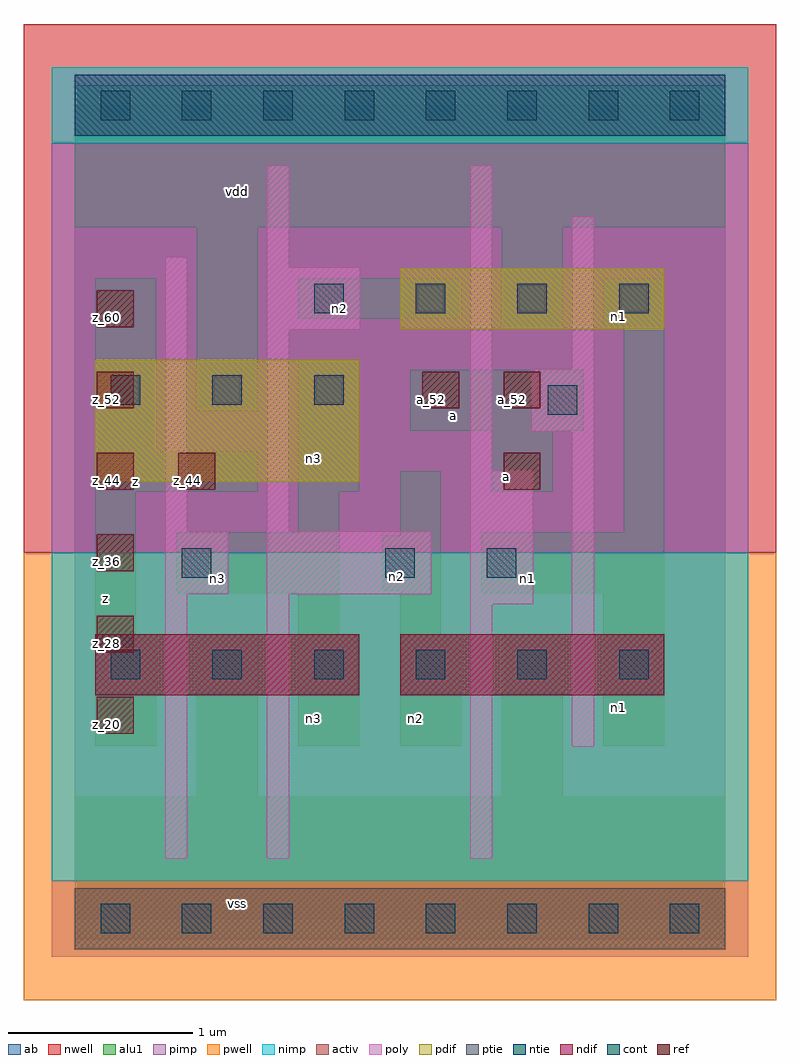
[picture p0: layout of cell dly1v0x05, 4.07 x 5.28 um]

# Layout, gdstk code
import gdstk
lib = gdstk.Library(unit=1e-6, precision=2.5e-09)
def R(c, l, rs):  # rectangles x0, y0, x1, y1
    for r in rs: c.add(gdstk.rectangle(r[:2], r[2:], *l))
def A(c, l, x, y, w, h, nx, ny, dx, dy):  # array of equal rectangles
    R(c, l, [(x+i*dx, y+j*dy, x+i*dx+w, y+j*dy+h) for i in range(nx) for j in range(ny)])
ndif = (3, 0)
pdif = (4, 0)
ntie = (5, 0)
ptie = (6, 0)
ref = (24, 0)
cont = (25, 0)
pwell = (41, 0)
nwell = (42, 0)
activ = (43, 0)
pimp = (44, 0)
nimp = (45, 0)
poly = (46, 0)
alu1 = (49, 0)
ab = (63, 0)

dly1v0x05 = lib.new_cell('dly1v0x05')
R(dly1v0x05, ndif, [(0.11,1.21,1.54,1.54), (1.76,1.21,3.19,1.54)])
R(dly1v0x05, pdif, [(0.11,2.365,1.54,3.025), (1.76,3.19,3.19,3.52)])
R(dly1v0x05, ntie, [(0,4.235,3.52,4.565)])
R(dly1v0x05, ptie, [(0,-0.165,3.52,0.165)])
A(dly1v0x05, ref, 0.12, 1, 0.2, 0.2, 1, 6, 0, 0.44)
R(dly1v0x05, ref, [(0.56,2.32,0.76,2.52), (2.32,2.32,2.52,2.52), (1.88,2.76,2.08,2.96), (2.32,2.76,2.52,2.96)])
A(dly1v0x05, cont, 0.14, -0.08, 0.16, 0.16, 8, 2, 0.44, 4.4)
A(dly1v0x05, cont, 0.195, 1.295, 0.16, 0.16, 6, 1, 0.55, 0)
A(dly1v0x05, cont, 0.195, 2.78, 0.16, 0.16, 3, 1, 0.55, 0)
A(dly1v0x05, cont, 1.295, 3.275, 0.16, 0.16, 4, 1, 0.55, 0)
R(dly1v0x05, cont, [(0.58,1.845,0.74,2.005), (1.68,1.845,1.84,2.005), (2.23,1.845,2.39,2.005), (2.56,2.725,2.72,2.885)])
R(dly1v0x05, pwell, [(-0.275,-0.44,3.795,1.98)])
R(dly1v0x05, nwell, [(-0.275,1.98,3.795,4.84)])
R(dly1v0x05, activ, [(0,-0.165,3.52,0.165), (0.11,1.21,1.54,1.54), (1.76,1.21,3.19,1.54), (0.11,2.365,1.54,3.025), (1.76,3.19,3.19,3.52), (0,4.235,3.52,4.565)])
R(dly1v0x05, pimp, [(-0.125,-0.205,3.645,0.205), (-0.125,1.98,3.645,4.195)])
R(dly1v0x05, nimp, [(-0.125,0.205,3.645,1.98), (-0.125,4.195,3.645,4.605)])
R(dly1v0x05, poly, [(0.49,0.325,0.61,1.755), (1.04,0.325,1.16,1.755), (2.14,0.325,2.26,1.7), (2.69,0.93,2.81,2.635), (2.14,1.7,2.48,2.425), (0.49,1.755,0.83,2.095), (1.04,1.755,1.93,2.095), (0.49,2.095,0.61,3.58), (1.04,2.095,1.16,3.185), (2.14,2.425,2.26,4.075), (2.47,2.635,2.81,2.975), (2.69,2.975,2.81,3.8), (1.04,3.185,1.545,3.525), (1.04,3.525,1.16,4.075)])
R(dly1v0x05, alu1, [(0,-0.11,3.52,0.66), (0.66,0.66,0.99,1.54), (2.31,0.66,2.64,1.54), (0.11,0.935,0.44,1.54), (1.21,0.935,1.54,1.54), (1.76,0.935,2.09,1.54), (2.86,0.935,3.19,1.76), (0.11,1.54,0.33,2.31), (1.21,1.54,1.43,1.76), (1.76,1.54,1.98,1.775), (0.55,1.76,1.43,2.09), (2.2,1.76,3.19,2.09), (1.665,1.775,1.98,2.075), (1.76,2.075,1.98,2.42), (1.21,2.09,1.43,2.31), (2.97,2.09,3.19,3.19), (0.11,2.31,0.99,2.53), (1.21,2.31,1.54,3.025), (2.255,2.31,2.585,2.64), (0.11,2.53,0.44,3.465), (1.815,2.64,2.75,2.97), (0.66,2.75,0.99,3.74), (2.31,3.19,2.64,3.74), (2.86,3.19,3.19,3.465), (1.21,3.245,2.09,3.465), (0,3.74,3.52,4.51)])
R(dly1v0x05, ab, [(0,0,3.52,4.4)])
dly1v0x05.add(gdstk.Label('vss', (0.88,0.0825), layer=49, texttype=0))
dly1v0x05.add(gdstk.Label('n1', (2.9425,1.14), layer=49, texttype=0))
dly1v0x05.add(gdstk.Label('n2', (1.8425,1.085), layer=49, texttype=0))
dly1v0x05.add(gdstk.Label('n3', (1.2925,1.085), layer=49, texttype=0))
dly1v0x05.add(gdstk.Label('n1', (2.4475,1.8425), layer=49, texttype=0))
dly1v0x05.add(gdstk.Label('n2', (1.7425,1.85), layer=49, texttype=0))
dly1v0x05.add(gdstk.Label('a', (2.3375,2.3925), layer=49, texttype=0))
dly1v0x05.add(gdstk.Label('n3', (0.77,1.8425), layer=49, texttype=0))
dly1v0x05.add(gdstk.Label('z', (0.165,1.7325), layer=49, texttype=0))
dly1v0x05.add(gdstk.Label('a', (2.0475,2.7225), layer=49, texttype=0))
dly1v0x05.add(gdstk.Label('n3', (1.2925,2.4875), layer=49, texttype=0))
dly1v0x05.add(gdstk.Label('z', (0.33,2.365), layer=49, texttype=0))
dly1v0x05.add(gdstk.Label('n1', (2.9425,3.2575), layer=49, texttype=0))
dly1v0x05.add(gdstk.Label('n2', (1.43,3.3), layer=49, texttype=0))
dly1v0x05.add(gdstk.Label('vdd', (0.88,3.9325), layer=49, texttype=0))
dly1v0x05.add(gdstk.Label('a_52', (2.37,2.81), layer=24, texttype=0))
dly1v0x05.add(gdstk.Label('a_44', (2.37,2.37), layer=24, texttype=0))
dly1v0x05.add(gdstk.Label('z_60', (0.17,3.25), layer=24, texttype=0))
dly1v0x05.add(gdstk.Label('z_52', (0.17,2.81), layer=24, texttype=0))
dly1v0x05.add(gdstk.Label('z_44', (0.17,2.37), layer=24, texttype=0))
dly1v0x05.add(gdstk.Label('z_36', (0.17,1.93), layer=24, texttype=0))
dly1v0x05.add(gdstk.Label('z_28', (0.17,1.49), layer=24, texttype=0))
dly1v0x05.add(gdstk.Label('z_20', (0.17,1.05), layer=24, texttype=0))
dly1v0x05.add(gdstk.Label('a_52', (1.93,2.81), layer=24, texttype=0))
dly1v0x05.add(gdstk.Label('z_44', (0.61,2.37), layer=24, texttype=0))

lib.write_gds('dly1v0x05.gds')
